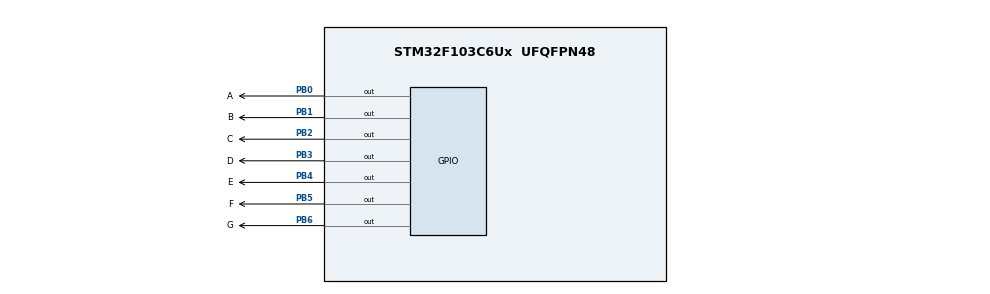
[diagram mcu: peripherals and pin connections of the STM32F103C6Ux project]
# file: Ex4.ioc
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Mcu.Family=STM32F1
Mcu.Name=STM32F103C6Ux
Mcu.Package=UFQFPN48
NVIC.PriorityGroup=NVIC_PRIORITYGROUP_4
PB0.GPIO_Label=A
PB0.Signal=GPIO_Output
PB1.GPIO_Label=B
PB1.Signal=GPIO_Output
PB2.GPIO_Label=C
PB2.Signal=GPIO_Output
PB3.GPIO_Label=D
PB3.Signal=GPIO_Output
PB4.GPIO_Label=E
PB4.Signal=GPIO_Output
PB5.GPIO_Label=F
PB5.Signal=GPIO_Output
PB6.GPIO_Label=G
PB6.Signal=GPIO_Output
ProjectManager.HeapSize=0x200
ProjectManager.StackSize=0x400
ProjectManager.TargetToolchain=STM32CubeIDE
RCC.APB1Freq_Value=8000000
RCC.APB2Freq_Value=8000000
VP_SYS_VS_ND.Mode=No_Debug
board=custom

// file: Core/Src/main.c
/* USER CODE BEGIN Header */
/**
  ******************************************************************************
  * @file           : main.c
  * @brief          : Main program body
  ******************************************************************************
  * @attention
  *
  * <h2><center>&copy; Copyright (c) 2023 STMicroelectronics.
  * All rights reserved.</center></h2>
  *
  * This software component is licensed by ST under BSD 3-Clause license,
  * the "License"; You may not use this file except in compliance with the
  * License. You may obtain a copy of the License at:
  *                        opensource.org/licenses/BSD-3-Clause
  *
  ******************************************************************************
  */
/* USER CODE END Header */
#include "main.h"

void SystemClock_Config(void);
static void MX_GPIO_Init(void);

int main(void)
{

  /* MCU Configuration--------------------------------------------------------*/

  /* Reset of all peripherals, Initializes the Flash interface and the Systick. */
  HAL_Init();

  /* Configure the system clock */
  SystemClock_Config();

  /* Initialize all configured peripherals */
  MX_GPIO_Init();
  /* USER CODE BEGIN 2 */
  void display7SEG(int num){
  	if(num == 0){
  		HAL_GPIO_WritePin(A_GPIO_Port, A_Pin, RESET);
  		HAL_GPIO_WritePin(B_GPIO_Port, B_Pin, RESET);
  		HAL_GPIO_WritePin(C_GPIO_Port, C_Pin, RESET);
  		HAL_GPIO_WritePin(D_GPIO_Port, D_Pin, RESET);
  		HAL_GPIO_WritePin(E_GPIO_Port, E_Pin, RESET);
  		HAL_GPIO_WritePin(F_GPIO_Port, F_Pin, RESET);
  		HAL_GPIO_WritePin(G_GPIO_Port, G_Pin, SET);
  	}
  	else if(num == 1){
  		HAL_GPIO_WritePin(A_GPIO_Port, A_Pin, SET);
  		HAL_GPIO_WritePin(B_GPIO_Port, B_Pin, RESET);
  		HAL_GPIO_WritePin(C_GPIO_Port, C_Pin, RESET);
  		HAL_GPIO_WritePin(D_GPIO_Port, D_Pin, SET);
  		HAL_GPIO_WritePin(E_GPIO_Port, E_Pin, SET);
  		HAL_GPIO_WritePin(F_GPIO_Port, F_Pin, SET);
  		HAL_GPIO_WritePin(G_GPIO_Port, G_Pin, SET);
  	}
  	else if(num == 2){
  		HAL_GPIO_WritePin(A_GPIO_Port, A_Pin, RESET);
  		HAL_GPIO_WritePin(B_GPIO_Port, B_Pin, RESET);
  		HAL_GPIO_WritePin(C_GPIO_Port, C_Pin, SET);
  		HAL_GPIO_WritePin(D_GPIO_Port, D_Pin, RESET);
  		HAL_GPIO_WritePin(E_GPIO_Port, E_Pin, RESET);
  		HAL_GPIO_WritePin(F_GPIO_Port, F_Pin, SET);
  		HAL_GPIO_WritePin(G_GPIO_Port, G_Pin, RESET);
  	}
  	else if(num == 3){
  		HAL_GPIO_WritePin(A_GPIO_Port, A_Pin, RESET);
  		HAL_GPIO_WritePin(B_GPIO_Port, B_Pin, RESET);
  		HAL_GPIO_WritePin(C_GPIO_Port, C_Pin, RESET);
  		HAL_GPIO_WritePin(D_GPIO_Port, D_Pin, RESET);
  		HAL_GPIO_WritePin(E_GPIO_Port, E_Pin, SET);
  		HAL_GPIO_WritePin(F_GPIO_Port, F_Pin, SET);
  		HAL_GPIO_WritePin(G_GPIO_Port, G_Pin, RESET);
  	}
  	else if(num ==4){
  		HAL_GPIO_WritePin(A_GPIO_Port, A_Pin, SET);
  		HAL_GPIO_WritePin(B_GPIO_Port, B_Pin, RESET);
  		HAL_GPIO_WritePin(C_GPIO_Port, C_Pin, RESET);
  		HAL_GPIO_WritePin(D_GPIO_Port, D_Pin, SET);
  		HAL_GPIO_WritePin(E_GPIO_Port, E_Pin, SET);
  		HAL_GPIO_WritePin(F_GPIO_Port, F_Pin, RESET);
  		HAL_GPIO_WritePin(G_GPIO_Port, G_Pin, RESET);
  	}
  	else if(num == 5){
  		HAL_GPIO_WritePin(A_GPIO_Port, A_Pin, RESET);
  		HAL_GPIO_WritePin(B_GPIO_Port, B_Pin, SET);
  		HAL_GPIO_WritePin(C_GPIO_Port, C_Pin, RESET);
  		HAL_GPIO_WritePin(D_GPIO_Port, D_Pin, RESET);
  		HAL_GPIO_WritePin(E_GPIO_Port, E_Pin, SET);
  		HAL_GPIO_WritePin(F_GPIO_Port, F_Pin, RESET);
  		HAL_GPIO_WritePin(G_GPIO_Port, G_Pin, RESET);
  	}
  	else if(num == 6){
  		HAL_GPIO_WritePin(A_GPIO_Port, A_Pin, RESET);
  		HAL_GPIO_WritePin(B_GPIO_Port, B_Pin, SET);
  		HAL_GPIO_WritePin(C_GPIO_Port, C_Pin, RESET);
  		HAL_GPIO_WritePin(D_GPIO_Port, D_Pin, RESET);
  		HAL_GPIO_WritePin(E_GPIO_Port, E_Pin, RESET);
  		HAL_GPIO_WritePin(F_GPIO_Port, F_Pin, RESET);
  		HAL_GPIO_WritePin(G_GPIO_Port, G_Pin, RESET);
  	}
  	else if(num == 7){
  		HAL_GPIO_WritePin(A_GPIO_Port, A_Pin, RESET);
  		HAL_GPIO_WritePin(B_GPIO_Port, B_Pin, RESET);
  		HAL_GPIO_WritePin(C_GPIO_Port, C_Pin, RESET);
  		HAL_GPIO_WritePin(D_GPIO_Port, D_Pin, SET);
  		HAL_GPIO_WritePin(E_GPIO_Port, E_Pin, SET);
  		HAL_GPIO_WritePin(F_GPIO_Port, F_Pin, SET);
  		HAL_GPIO_WritePin(G_GPIO_Port, G_Pin, SET);
  	}
  	else if(num == 8){
  		HAL_GPIO_WritePin(A_GPIO_Port, A_Pin, RESET);
  		HAL_GPIO_WritePin(B_GPIO_Port, B_Pin, RESET);
  		HAL_GPIO_WritePin(C_GPIO_Port, C_Pin, RESET);
  		HAL_GPIO_WritePin(D_GPIO_Port, D_Pin, RESET);
  		HAL_GPIO_WritePin(E_GPIO_Port, E_Pin, RESET);
  		HAL_GPIO_WritePin(F_GPIO_Port, F_Pin, RESET);
  		HAL_GPIO_WritePin(G_GPIO_Port, G_Pin, RESET);
  	}
  	else if(num == 9){
  		HAL_GPIO_WritePin(A_GPIO_Port, A_Pin, RESET);
  		HAL_GPIO_WritePin(B_GPIO_Port, B_Pin, RESET);
  		HAL_GPIO_WritePin(C_GPIO_Port, C_Pin, RESET);
  		HAL_GPIO_WritePin(D_GPIO_Port, D_Pin, RESET);
  		HAL_GPIO_WritePin(E_GPIO_Port, E_Pin, SET);
  		HAL_GPIO_WritePin(F_GPIO_Port, F_Pin, RESET);
  		HAL_GPIO_WritePin(G_GPIO_Port, G_Pin, RESET);
  	}
  }
  /* USER CODE END 2 */

  /* Infinite loop */
  /* USER CODE BEGIN WHILE */
  int counter = 0;
  while (1)
  {
    /* USER CODE END WHILE */
	  if(counter >= 10) counter = 0;
	  display7SEG(counter++);
	  HAL_Delay (1000);

  }
}

void SystemClock_Config(void)
{
  RCC_OscInitTypeDef RCC_OscInitStruct = {0};
  RCC_ClkInitTypeDef RCC_ClkInitStruct = {0};

  /** Initializes the RCC Oscillators according to the specified parameters
  * in the RCC_OscInitTypeDef structure.
  */
  RCC_OscInitStruct.OscillatorType = RCC_OSCILLATORTYPE_HSI;
  RCC_OscInitStruct.HSIState = RCC_HSI_ON;
  RCC_OscInitStruct.HSICalibrationValue = RCC_HSICALIBRATION_DEFAULT;
  RCC_OscInitStruct.PLL.PLLState = RCC_PLL_NONE;
  if (HAL_RCC_OscConfig(&RCC_OscInitStruct) != HAL_OK)
  {
    Error_Handler();
  }
  /** Initializes the CPU, AHB and APB buses clocks
  */
  RCC_ClkInitStruct.ClockType = RCC_CLOCKTYPE_HCLK|RCC_CLOCKTYPE_SYSCLK
                              |RCC_CLOCKTYPE_PCLK1|RCC_CLOCKTYPE_PCLK2;
  RCC_ClkInitStruct.SYSCLKSource = RCC_SYSCLKSOURCE_HSI;
  RCC_ClkInitStruct.AHBCLKDivider = RCC_SYSCLK_DIV1;
  RCC_ClkInitStruct.APB1CLKDivider = RCC_HCLK_DIV1;
  RCC_ClkInitStruct.APB2CLKDivider = RCC_HCLK_DIV1;

  if (HAL_RCC_ClockConfig(&RCC_ClkInitStruct, FLASH_LATENCY_0) != HAL_OK)
  {
    Error_Handler();
  }
}

static void MX_GPIO_Init(void)
{
  GPIO_InitTypeDef GPIO_InitStruct = {0};

  /* GPIO Ports Clock Enable */
  __HAL_RCC_GPIOB_CLK_ENABLE();

  /*Configure GPIO pin Output Level */
  HAL_GPIO_WritePin(GPIOB, A_Pin|B_Pin|C_Pin|D_Pin
                          |E_Pin|F_Pin|G_Pin, GPIO_PIN_RESET);

  /*Configure GPIO pins : A_Pin B_Pin C_Pin D_Pin
                           E_Pin F_Pin G_Pin */
  GPIO_InitStruct.Pin = A_Pin|B_Pin|C_Pin|D_Pin
                          |E_Pin|F_Pin|G_Pin;
  GPIO_InitStruct.Mode = GPIO_MODE_OUTPUT_PP;
  GPIO_InitStruct.Pull = GPIO_NOPULL;
  GPIO_InitStruct.Speed = GPIO_SPEED_FREQ_LOW;
  HAL_GPIO_Init(GPIOB, &GPIO_InitStruct);

}

void Error_Handler(void)
{
  __disable_irq();
  while (1)
  {
  }
}

/************************ (C) COPYRIGHT STMicroelectronics *****END OF FILE****/
